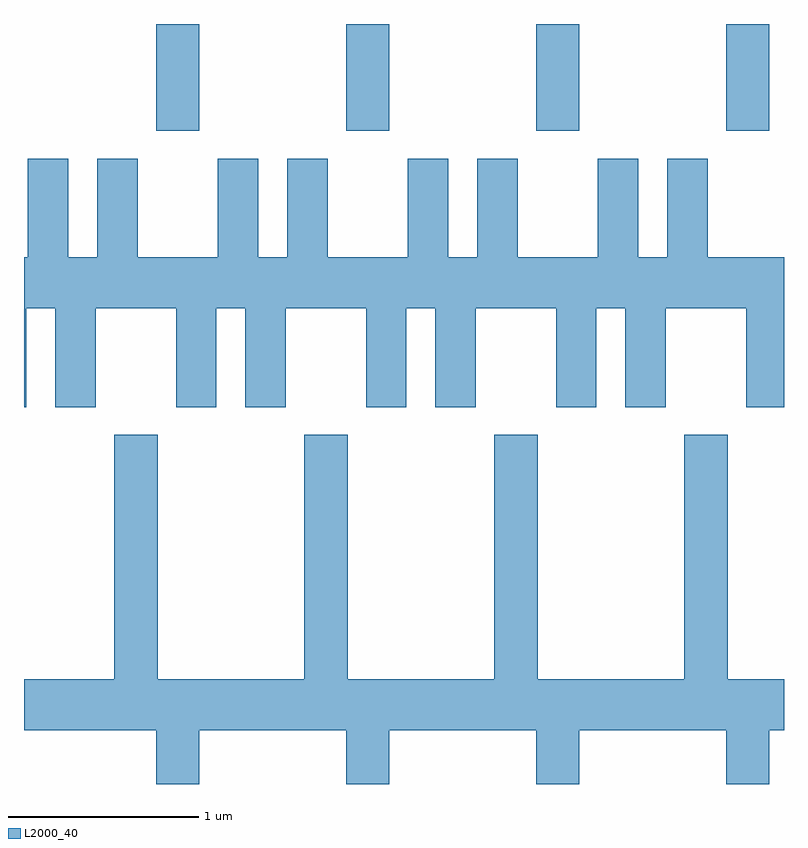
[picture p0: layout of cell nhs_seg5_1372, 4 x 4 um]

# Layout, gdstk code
import gdstk
lib = gdstk.Library(unit=1e-6, precision=1e-09)
def R(c, l, rs):  # rectangles x0, y0, x1, y1
    for r in rs: c.add(gdstk.rectangle(r[:2], r[2:], *l))
def A(c, l, x, y, w, h, nx, ny, dx, dy):  # array of equal rectangles
    R(c, l, [(x+i*dx, y+j*dy, x+i*dx+w, y+j*dy+h) for i in range(nx) for j in range(ny)])
def P(c, l, *ps):  # polygons
    for p in ps: c.add(gdstk.Polygon(p, *l))
L2000_40 = (2000, 40)

nhs_seg5_1372 = lib.new_cell('nhs_seg5_1372')
A(nhs_seg5_1372, L2000_40, 226.306, 1455.511, 0.228, 0.561, 4, 1, 1, 0)
P(nhs_seg5_1372, L2000_40, [(225.844,1455.364),(225.631,1455.364),(225.631,1454.844),(225.611,1454.844),(225.611,1454.056),(225.624,1454.056),(225.624,1454.576),(225.776,1454.576),(225.776,1454.056),(225.989,1454.056),(225.989,1454.576),(226.411,1454.576),(226.411,1454.056),(226.624,1454.056),(226.624,1454.576),(226.776,1454.576),(226.776,1454.056),(226.989,1454.056),(226.989,1454.576),(227.411,1454.576),(227.411,1454.056),(227.624,1454.056),(227.624,1454.576),(227.776,1454.576),(227.776,1454.056),(227.989,1454.056),(227.989,1454.576),(228.411,1454.576),(228.411,1454.056),(228.624,1454.056),(228.624,1454.576),(228.776,1454.576),(228.776,1454.056),(228.989,1454.056),(228.989,1454.576),(229.411,1454.576),(229.411,1454.056),(229.611,1454.056),(229.611,1454.844),(229.209,1454.844),(229.209,1455.364),(228.996,1455.364),(228.996,1454.844),(228.844,1454.844),(228.844,1455.364),(228.631,1455.364),(228.631,1454.844),(228.209,1454.844),(228.209,1455.364),(227.996,1455.364),(227.996,1454.844),(227.844,1454.844),(227.844,1455.364),(227.631,1455.364),(227.631,1454.844),(227.209,1454.844),(227.209,1455.364),(226.996,1455.364),(226.996,1454.844),(226.844,1454.844),(226.844,1455.364),(226.631,1455.364),(226.631,1454.844),(226.209,1454.844),(226.209,1455.364),(225.996,1455.364),(225.996,1454.844),(225.844,1454.844)],
  [(226.534,1452.356),(227.306,1452.356),(227.306,1452.072),(227.534,1452.072),(227.534,1452.356),(228.306,1452.356),(228.306,1452.072),(228.534,1452.072),(228.534,1452.356),(229.306,1452.356),(229.306,1452.072),(229.534,1452.072),(229.534,1452.356),(229.611,1452.356),(229.611,1452.624),(229.314,1452.624),(229.314,1453.909),(229.086,1453.909),(229.086,1452.624),(228.314,1452.624),(228.314,1453.909),(228.086,1453.909),(228.086,1452.624),(227.314,1452.624),(227.314,1453.909),(227.086,1453.909),(227.086,1452.624),(226.314,1452.624),(226.314,1453.909),(226.086,1453.909),(226.086,1452.624),(225.611,1452.624),(225.611,1452.356),(226.306,1452.356),(226.306,1452.072),(226.534,1452.072)])

lib.write_gds('nhs_seg5_1372.gds')
